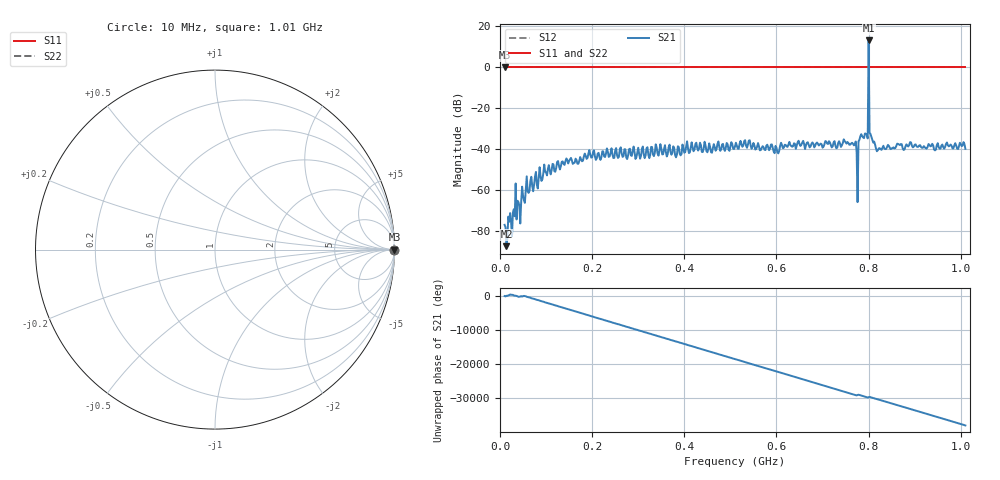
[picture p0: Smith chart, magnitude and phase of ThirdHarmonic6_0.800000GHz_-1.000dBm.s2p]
! 8/16/2025 2:41:07 AM
! C:\ANRITSUVNA\TEMP\TEMP.S2P
! CHANNEL.1
! TR.MEASUREMENT
! RAW.DATA
! RF.CORRECTION.OFF
! AVERAGING.OFF
! IF.BANDWIDTH: 5KHZ
! SWEEPTYPE:  FREQ.SWEEP(Linear)
! Reference Plane Port Info
! PORT:  PORT1  PORT2
! DISTANCE:  0  m  0  m
! TIME:  0  s  0  s
! PHASE.OFFSET:  0  deg.  0  deg.
! LOSS:  0  dB  0  dB
! REF.LOSS:  0  dB  0  dB
! REF.FREQ:  0  Hz  0  Hz
! Power Info
! POWER:  -20  dBm  -20  dBm
! EFF.POWER:  -20  dBm  -20  dBm
! SOURCE.ATTEN:  0  dB  0  dB
! TEST.ATTEN:  0  dB  0  dB
# GHZ S RI R 50.0
! FREQ.GHZ  S11RE  S11IM  S21RE  S21IM  S12RE  S12IM  S22RE  S22IM
!; PortSelection: Port_12
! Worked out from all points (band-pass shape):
!   501 points, 10 MHz to 1.01 GHz, reference 50 ohm
!   highest |S21| = 13.12 dB at 800 MHz (marker M1); lowest = -87.4 dB at 14 MHz (marker M2)
!   |S21| within 3 dB of the highest: 799.8748 MHz to 800.1331 MHz (258.4 kHz wide, 0.0323 % of centre)
!   lowest |S11| = 0.0 dB at 10 MHz (marker M3)
!   |S11| at or under -10 dB: nowhere
!   |S22| runs from 0.0 to 0.0 dB; largest |S21 - S12| = 5.5
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0.01  1 0  -0.000125 -6.56e-05  1 0  1 0
0.014  1 0  1.44e-05 -3.99e-05  1 0  1 0
0.038  1 0  -0.000454 0.000303  1 0  1 0
0.04  1 0  0.000507 -4.22e-05  1 0  1 0
0.062  1 0  -0.000721 -0.000452  1 0  1 0
0.096  1 0  -0.000463 -0.00416  1 0  1 0
0.178  1 0  -0.00504 -0.000313  1 0  1 0
0.344  1 0  0.00637 -0.00272  1 0  1 0
0.51  1 0  -0.0102 0.00573  1 0  1 0
0.678  1 0  -0.0111 -0.00944  1 0  1 0
0.768  1 0  -0.0113 -0.00507  1 0  1 0
0.772  1 0  0.00868 0.0127  1 0  1 0
0.78  1 0  -0.000712 0.0169  1 0  1 0
0.782  1 0  0.0202 0.00427  1 0  1 0
0.794  1 0  -0.0178 -0.0158  1 0  1 0
0.796  1 0  -0.015 0.0164  1 0  1 0
0.8  1 0  -4.296 1.432  1 0  1 0
0.804  1 0  -0.0219 0.00838  1 0  1 0
0.806  1 0  0.00692 0.0188  1 0  1 0
0.82  1 0  -0.00357 -0.00868  1 0  1 0
0.844  1 0  0.0119 0.00141  1 0  1 0
1.01  1 0  -0.0101 0.00143  1 0  1 0
